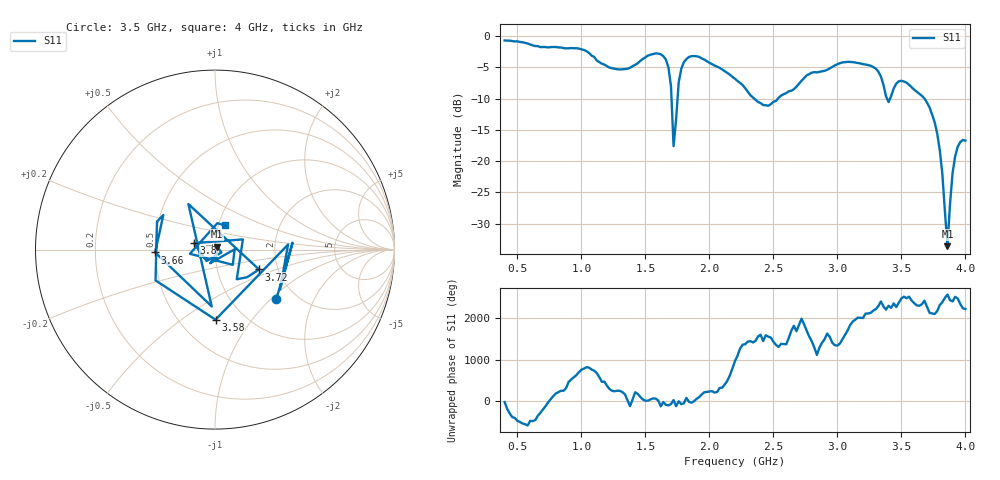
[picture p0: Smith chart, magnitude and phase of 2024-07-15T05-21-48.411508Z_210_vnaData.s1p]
!Created with skrf (http://scikit-rf.org).
# Hz S RI R 50.0
!freq ReS11 ImS11
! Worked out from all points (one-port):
!   181 points, 400 MHz to 4 GHz, reference 50 ohm
!   lowest |S11| = -33.6 dB at 3.86 GHz (marker M1), VSWR 1.04, Z = 51.2 + j1.76 ohm
!   |S11| at or under -10 dB: 1.704 GHz to 1.751 GHz (47.05 MHz wide, 2.72 % of centre); 2.35 GHz to 2.535 GHz (184.6 MHz wide, 7.56 % of centre); 3.681 GHz to end of sweep (the widest 3 of 4)
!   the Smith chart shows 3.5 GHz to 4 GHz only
!   S11 on the Smith chart (normalised r, x): 3.5 GHz: 1.58, -1.09; 3.58 GHz: 0.74, -0.68; 3.66 GHz: 0.50, -0.02; 3.72 GHz: 1.59, -0.38; 3.8 GHz: 0.79, +0.06; 4 GHz: 1.08, +0.30
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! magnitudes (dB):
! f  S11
! 400 MHz  -0.7
! 860 MHz  -1.9
! 1.3 GHz  -5.3
! 1.58 GHz  -2.7
! 1.66 GHz  -3.7
! 1.7 GHz  -8.0
! 1.72 GHz  -17.6
! 1.76 GHz  -7.4
! 1.8 GHz  -4.2
! 1.86 GHz  -3.2
! 2.2 GHz  -6.8
! 2.42 GHz  -11.0
! 2.66 GHz  -8.5
! 2.8 GHz  -5.8
! 3.1 GHz  -4.1
! 3.3 GHz  -5.2
! 3.4 GHz  -10.6
! 3.5 GHz  -7.1
! 3.56 GHz  -7.8
! 3.58 GHz  -8.2
! 3.66 GHz  -9.5
! 3.72 GHz  -11.4
! 3.8 GHz  -18.3
! 3.82 GHz  -22.0
! 3.86 GHz  -33.6
! 3.9 GHz  -21.9
! 3.92 GHz  -19.2
! 4 GHz  -16.7
